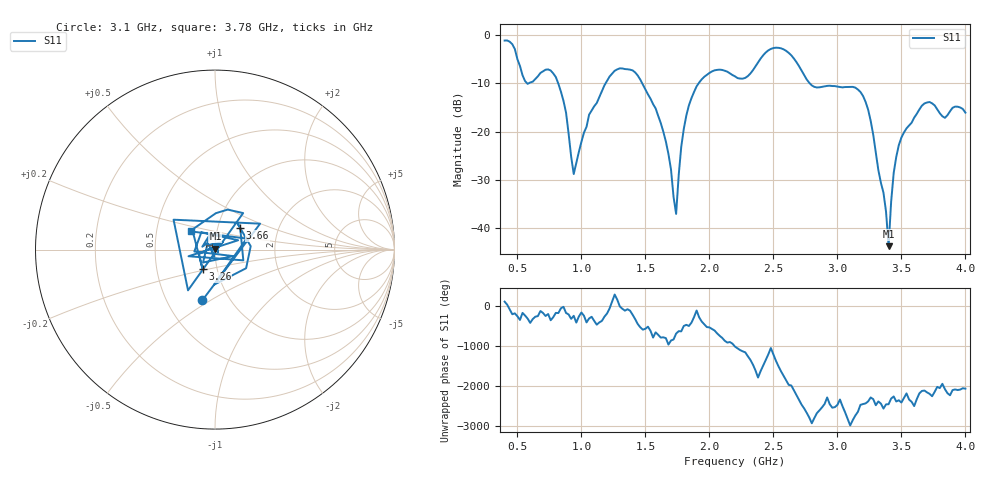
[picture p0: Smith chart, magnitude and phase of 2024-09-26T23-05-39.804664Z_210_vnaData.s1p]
!Created with skrf (http://scikit-rf.org).
# Hz S RI R 50.0
!freq ReS11 ImS11
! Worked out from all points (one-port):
!   181 points, 400 MHz to 4 GHz, reference 50 ohm
!   lowest |S11| = -43.8 dB at 3.4 GHz (marker M1), VSWR 1.01, Z = 50.2 + j0.608 ohm
!   |S11| at or under -10 dB: 818.4 MHz to 1.189 GHz (370.9 MHz wide, 36.9 % of centre); 1.475 GHz to 1.916 GHz (441.6 MHz wide, 26 % of centre); 2.783 GHz to end of sweep (the widest 3 of 4)
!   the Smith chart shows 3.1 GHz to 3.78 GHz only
!   S11 on the Smith chart (normalised r, x): 3.1 GHz: 0.75, -0.46; 3.26 GHz: 0.85, -0.19; 3.66 GHz: 1.28, +0.32; 3.78 GHz: 0.75, +0.16
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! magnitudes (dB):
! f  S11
! 400 MHz  -1.2
! 580 MHz  -10.1
! 760 MHz  -7.4
! 860 MHz  -13.7
! 940 MHz  -28.8
! 1.06 GHz  -16.5
! 1.3 GHz  -6.9
! 1.42 GHz  -7.8
! 1.58 GHz  -15.2
! 1.68 GHz  -24.7
! 1.74 GHz  -37.1
! 1.76 GHz  -29.1
! 1.82 GHz  -16.7
! 1.9 GHz  -10.6
! 2.2 GHz  -8.6
! 2.5 GHz  -2.7
! 2.66 GHz  -4.9
! 2.82 GHz  -10.8
! 3.1 GHz  -10.8
! 3.26 GHz  -17.8
! 3.36 GHz  -32.7
! 3.4 GHz  -43.8
! 3.42 GHz  -34.5
! 3.46 GHz  -25.2
! 3.56 GHz  -18.7
! 3.66 GHz  -14.7
! 3.78 GHz  -15.4
! 4 GHz  -16.1
